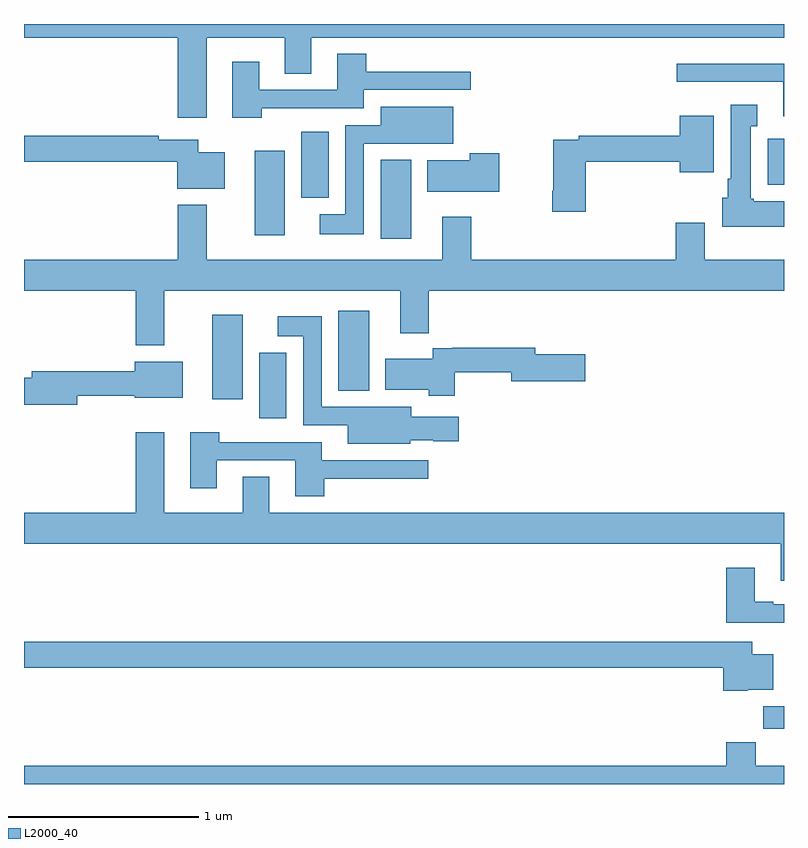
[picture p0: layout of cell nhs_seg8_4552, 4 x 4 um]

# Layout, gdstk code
import gdstk
lib = gdstk.Library(unit=1e-6, precision=1e-09)
def R(c, l, rs):  # rectangles x0, y0, x1, y1
    for r in rs: c.add(gdstk.rectangle(r[:2], r[2:], *l))
def P(c, l, *ps):  # polygons
    for p in ps: c.add(gdstk.Polygon(p, *l))
L2000_40 = (2000, 40)

nhs_seg8_4552 = lib.new_cell('nhs_seg8_4552')
R(nhs_seg8_4552, L2000_40, [(390.892,1118.19,391,1118.308), (388.238,1119.825,388.381,1120.171), (387.992,1119.924,388.15,1120.369), (388.655,1119.971,388.816,1120.39), (388.877,1120.77,389.038,1121.185), (388.214,1120.788,388.372,1121.233), (388.46,1120.985,388.603,1121.332), (390.914,1121.054,391,1121.296)])
P(nhs_seg8_4552, L2000_40, [(387.961,1121.828),(388.373,1121.828),(388.373,1121.638),(388.513,1121.638),(388.513,1121.828),(391,1121.828),(391,1121.9),(387,1121.9),(387,1121.828),(387.809,1121.828),(387.809,1121.406),(387.961,1121.406)],
  [(388.25,1121.457),(388.789,1121.457),(388.789,1121.553),(389.35,1121.553),(389.35,1121.65),(388.802,1121.65),(388.802,1121.743),(388.649,1121.743),(388.649,1121.553),(388.237,1121.553),(388.237,1121.701),(388.097,1121.701),(388.097,1121.406),(388.25,1121.406)],
  [(391,1121.692),(390.435,1121.692),(390.435,1121.595),(390.995,1121.595),(390.995,1121.415),(391,1121.415)],
  [(391,1120.966),(390.84,1120.966),(390.84,1120.98),(390.826,1120.98),(390.826,1121.363),(390.859,1121.363),(390.859,1121.476),(390.719,1121.476),(390.719,1121.086),(390.704,1121.086),(390.704,1120.986),(390.674,1120.986),(390.674,1120.832),(391,1120.832)],
  [(388.788,1121.271),(389.034,1121.271),(389.034,1121.27),(389.26,1121.27),(389.26,1121.464),(388.877,1121.464),(388.877,1121.367),(388.692,1121.367),(388.692,1120.9),(388.557,1120.9),(388.557,1120.793),(388.788,1120.793)],
  [(389.957,1121.176),(390.452,1121.176),(390.452,1121.12),(390.631,1121.12),(390.631,1121.416),(390.452,1121.416),(390.452,1121.312),(389.92,1121.312),(389.92,1121.292),(389.786,1121.292),(389.786,1121.023),(389.779,1121.023),(389.779,1120.911),(389.957,1120.911)],
  [(388.057,1121.224),(387.916,1121.224),(387.916,1121.292),(387.71,1121.292),(387.71,1121.312),(387,1121.312),(387,1121.176),(387.806,1121.176),(387.806,1121.033),(388.057,1121.033)],
  [(389.5,1121.22),(389.346,1121.22),(389.346,1121.182),(389.123,1121.182),(389.123,1121.018),(389.5,1121.018)],
  [(387.739,1120.496),(388.979,1120.496),(388.979,1120.272),(389.131,1120.272),(389.131,1120.496),(391,1120.496),(391,1120.66),(390.583,1120.66),(390.583,1120.855),(390.431,1120.855),(390.431,1120.66),(389.354,1120.66),(389.354,1120.885),(389.201,1120.885),(389.201,1120.66),(387.961,1120.66),(387.961,1120.948),(387.809,1120.948),(387.809,1120.66),(387,1120.66),(387,1120.496),(387.587,1120.496),(387.587,1120.208),(387.739,1120.208)],
  [(389.034,1119.71),(389.154,1119.71),(389.154,1119.703),(389.287,1119.703),(389.287,1119.832),(389.038,1119.832),(389.038,1119.886),(388.812,1119.886),(388.812,1119.885),(388.566,1119.885),(388.566,1120.363),(388.335,1120.363),(388.335,1120.256),(388.47,1120.256),(388.47,1119.789),(388.703,1119.789),(388.703,1119.692),(389.034,1119.692)],
  [(389.268,1120.066),(389.564,1120.066),(389.564,1120.019),(389.953,1120.019),(389.953,1120.161),(389.692,1120.161),(389.692,1120.195),(389.254,1120.195),(389.254,1120.193),(389.151,1120.193),(389.151,1120.138),(388.901,1120.138),(388.901,1119.974),(389.131,1119.974),(389.131,1119.944),(389.268,1119.944)],
  [(387.28,1119.943),(387.584,1119.943),(387.584,1119.932),(387.835,1119.932),(387.835,1120.123),(387.584,1120.123),(387.584,1120.072),(387.041,1120.072),(387.041,1120.038),(387,1120.038),(387,1119.896),(387.28,1119.896)],
  [(388.58,1119.506),(389.128,1119.506),(389.128,1119.603),(388.567,1119.603),(388.567,1119.699),(388.028,1119.699),(388.028,1119.751),(387.875,1119.751),(387.875,1119.456),(388.015,1119.456),(388.015,1119.603),(388.427,1119.603),(388.427,1119.414),(388.58,1119.414)],
  [(391,1119.328),(388.291,1119.328),(388.291,1119.518),(388.151,1119.518),(388.151,1119.328),(387.739,1119.328),(387.739,1119.751),(387.587,1119.751),(387.587,1119.328),(387,1119.328),(387,1119.164),(390.983,1119.164),(390.983,1118.97),(391,1118.97)],
  [(391,1118.847),(390.943,1118.847),(390.943,1118.86),(390.847,1118.86),(390.847,1119.037),(390.695,1119.037),(390.695,1118.75),(391,1118.75)],
  [(390.81,1118.396),(390.943,1118.396),(390.943,1118.584),(390.832,1118.584),(390.832,1118.648),(387,1118.648),(387,1118.512),(390.68,1118.512),(390.68,1118.39),(390.81,1118.39)],
  [(391,1117.996),(390.851,1117.996),(390.851,1118.12),(390.695,1118.12),(390.695,1117.996),(387,1117.996),(387,1117.9),(391,1117.9)])

lib.write_gds('nhs_seg8_4552.gds')
